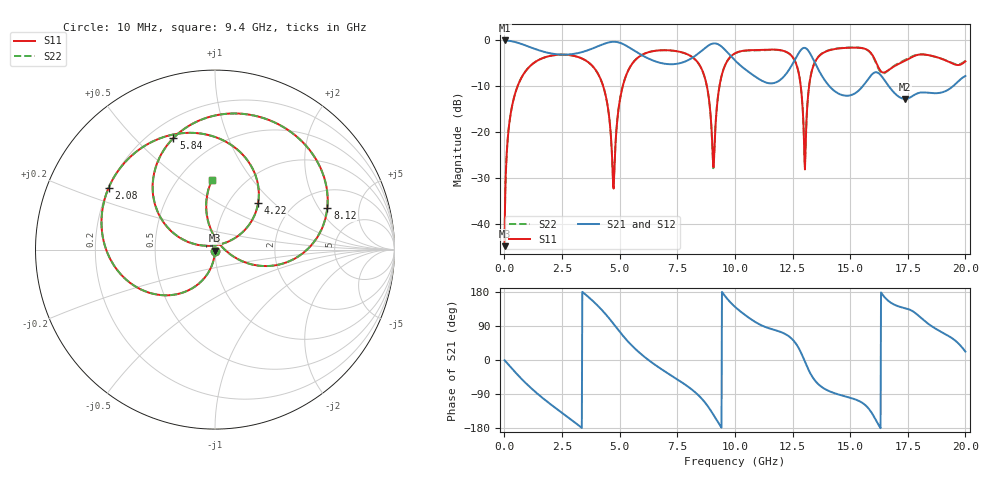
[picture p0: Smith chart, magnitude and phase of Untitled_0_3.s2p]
! TOUCHSTONE file generated by CST MICROWAVE STUDIO
! Date and time: Tue Oct 21 13:47:28 2025
! Project name: Untitled_0.cst
! Parameters = {E4_4=4.4; E4_3=0.85; E4_2=9.925; E4_1=10.075; E3_4=4.25; E3_3=0.85; E3_2=9.7; E3_1=10.3; E2_4=0.85; E2_3=-0.85; E2_2=11.85; E2_1=8.15; y=0.017; x=0; Tr6=-2; Tr5=2; Tr4=11; Tr3=2; Tr2=15; Tr1=-5; g3=3; g2=2; g1=0.15; E1_4=1; E1_3=-1; E1_2=12; E1_1=8; SP3_2_6=3.5; SP3_2_5=3.5; SP3_2_4=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
! Header version: 2018
! Port assignment regex: !\s*Touchstone port\s*([0-9]+)\s*=\s*(CST MWS port|CST DS port)\s*([0-9]+|Zmin|Zmax)\s*\(\"(.*)\"\)(\s*mode\s*([0-9]+))?.*
! Touchstone port assignment:
! Touchstone port 1 = CST MWS port 1 ("")
! Touchstone port 2 = CST MWS port 2 ("")
# GHz S DB R 50
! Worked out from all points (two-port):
!   1004 points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, 10 MHz to 20 GHz, reference 50 ohm
!   highest |S21| = 0.00 dB at 10 MHz (marker M1); lowest = -12.8 dB at 17.38 GHz (marker M2)
!   |S21| within 3 dB of the highest: start of sweep to 2.248 GHz; 2.905 GHz to 5.891 GHz (2.986 GHz wide, 67.9 % of centre)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
!   lowest |S11| = -44.9 dB at 10 MHz (marker M3), VSWR 1.01, Z = 50 - j0.57 ohm
!   |S11| at or under -10 dB: start of sweep to 571.9 MHz; 4.288 GHz to 5.134 GHz (846.2 MHz wide, 18 % of centre); 8.786 GHz to 9.33 GHz (544.3 MHz wide, 6.01 % of centre)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
!   |S22| runs from -44.7 to -1.5 dB; largest |S21 - S12| = 3.8e-05
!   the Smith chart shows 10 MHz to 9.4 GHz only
!   S11 on the Smith chart (normalised r, x): 10 MHz: 1.00, -0.01; 2.08 GHz: 0.20, +0.26; 4.22 GHz: 1.36, +0.81; 5.84 GHz: 0.29, +0.65; 8.12 GHz: 2.87, +2.39; 9.4 GHz: 0.72, +0.66
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0.01  -44.88 -91.9  -0.00 -0.7  -0.00 -0.7  -44.74 -91.9
0.18  -19.55 -102.9  -0.06 -12.5  -0.06 -12.5  -19.55 -102.9
0.48  -11.35 -123.1  -0.36 -32.9  -0.36 -32.9  -11.35 -123.1
2.08  -3.28 149.8  -2.88 -120.3  -2.88 -120.3  -3.28 149.7
3.36  -3.93 92.4  -2.55 -179.2  -2.55 -179.2  -3.93 92.3
4.22  -9.01 47.3  -0.94 132.6  -0.94 132.6  -9.01 47.3
4.74  -32.32 110.4  -0.29 95.1  -0.29 95.1  -32.09 110.3
5.12  -10.28 153.7  -0.72 65.8  -0.72 65.8  -10.28 153.5
5.84  -3.56 110.5  -2.85 20.4  -2.85 20.4  -3.56 110.4
6.68  -2.18 74.0  -4.78 -18.8  -4.78 -18.8  -2.18 73.9
8.12  -3.52 20.3  -3.89 -77.3  -3.89 -77.3  -3.54 20.1
9.06  -27.59 23.5  -0.66 -143.6  -0.66 -143.6  -27.88 25.3
9.4  -8.21 92.4  -1.25 -176.6  -1.25 -176.6  -8.19 92.5
10.02  -2.78 52.7  -4.43 139.5  -4.43 139.5  -2.80 52.7
11.72  -2.00 -0.3  -9.26 79.3  -9.26 79.3  -2.04 0.1
12.62  -4.64 -47.3  -4.07 45.6  -4.07 45.6  -4.64 -46.9
13.04  -28.13 162.7  -1.63 -4.5  -1.63 -4.5  -26.95 166.3
13.34  -6.62 51.7  -3.54 -42.4  -3.54 -42.4  -6.58 53.0
14.42  -1.81 -4.6  -11.37 -89.6  -11.37 -89.6  -1.75 -4.1
16.68  -6.42 -36.1  -10.01 155.0  -10.01 155.0  -6.40 -33.8
17.38  -4.43 -35.9  -12.75 136.8  -12.75 136.8  -4.25 -35.1
20  -4.56 -62.7  -7.75 22.2  -7.75 22.2  -4.43 -62.7
